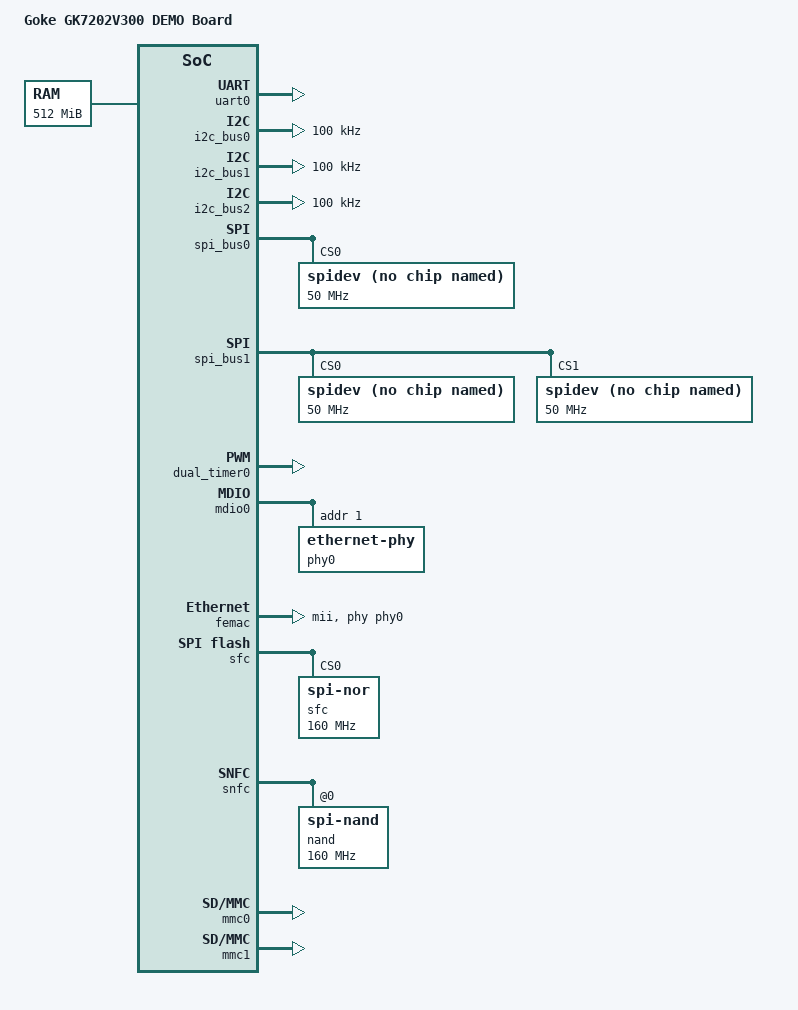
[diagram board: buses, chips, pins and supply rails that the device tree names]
/*
 * Copyright (c) Hunan Goke,Chengdu Goke,Shandong Goke. 2021. All rights reserved.
 */

/dts-v1/;
#include "gk7202v300.dtsi"

/ {
	model = "Goke GK7202V300 DEMO Board";
	compatible = "goke,gk7202v300";

	memory {
		device_type = "memory";
		reg = <0x40000000 0x20000000>;
	};

	reserved-memory {
		#address-cells = <1>;
		#size-cells = <1>;
		ranges;

		/*
		 * pstore/ramoops crash-log region (128K), reserved in the DT so it
		 * costs exactly its own size and leaves mem= and the media (mmz/cma)
		 * zone untouched -- one node serves both the gk and cma allocators.
		 *
		 * 0x41f00000 holds for every Goke SoC: the OS window is always the low
		 * 32M and the media zone always starts at base+32M = 0x42000000
		 * regardless of total DRAM, so this sits just below it, in kernel RAM
		 * and clear of the media zone. It is also well below the top of DRAM,
		 * where U-Boot relocates on every boot and would otherwise overwrite the
		 * log across the panic reboot -- and that top only rises with more DRAM,
		 * so the clearance only grows. Verified on gk7205v200 (both allocators).
		 */
		ramoops@41f00000 {
			compatible = "ramoops";
			reg = <0x41f00000 0x20000>;
			record-size = <0x10000>;
			console-size = <0>;
			pmsg-size = <0>;
		};
	};
};

&uart0 {
	status = "okay";
};

&uart1 {
	status = "disabled";
};

&uart2 {
	status = "disabled";
};

&i2c_bus0 {
	status = "okay";
	clock-frequency = <100000>;
};

&i2c_bus1 {
	status = "okay";
	clock-frequency = <100000>;
};

&i2c_bus2 {
	status = "okay";
	clock-frequency = <100000>;
};

&spi_bus0{
	status = "okay";
	num-cs = <1>;

	spidev@0 {
		compatible = "rohm,dh2228fv";
		reg = <0>;
		pl022,interface = <0>;
		pl022,com-mode = <0>;
		spi-max-frequency = <50000000>;
	};
};

&spi_bus1{
	status = "okay";
	num-cs = <2>;

	spidev@0 {
		compatible = "rohm,dh2228fv";
		reg = <0>;
		pl022,interface = <0>;
		pl022,com-mode = <0>;
		spi-max-frequency = <50000000>;
	};
	spidev@1 {
		compatible = "rohm,dh2228fv";
		reg = <1>;
		pl022,interface = <0>;
		pl022,com-mode = <0>;
		spi-max-frequency = <50000000>;
	};
};

&dual_timer0 {
	status = "okay";
};

&mdio0 {
	goke,phy-reset-delays-us = <10000 20000 150000>;
	phy0: ethernet-phy@1 {
		reg = <1>;
	};
};

&femac {
	mac-address = [00 00 00 00 00 00];
	phy-mode = "mii";
	phy-handle = <&phy0>;
	status = "okay";
};

&sfc {
	sfc {
		compatible = "jedec,spi-nor";
		reg = <0>;
		spi-max-frequency = <160000000>;
	};
};

&snfc {
	nand {
		compatible = "jedec,spi-nand";
		reg = <0>;
		spi-max-frequency = <160000000>;
	};
};

&mmc0 {
	status = "okay";
};

&mmc1 {
	status = "okay";
};

&gpio_chip0 {
	status = "okay";
};

&gpio_chip1 {
	status = "okay";
};

&gpio_chip2 {
	status = "okay";
};

&gpio_chip4 {
	status = "okay";
};

&gpio_chip5 {
	status = "okay";
};

&gpio_chip6 {
	status = "okay";
};

&gpio_chip7 {
	status = "okay";
};

&gpio_chip8 {
	status = "okay";
};

&usbdrd3_0 {
    dwc3@0x100e0000 {
        dr_mode = "host";
    };
};
